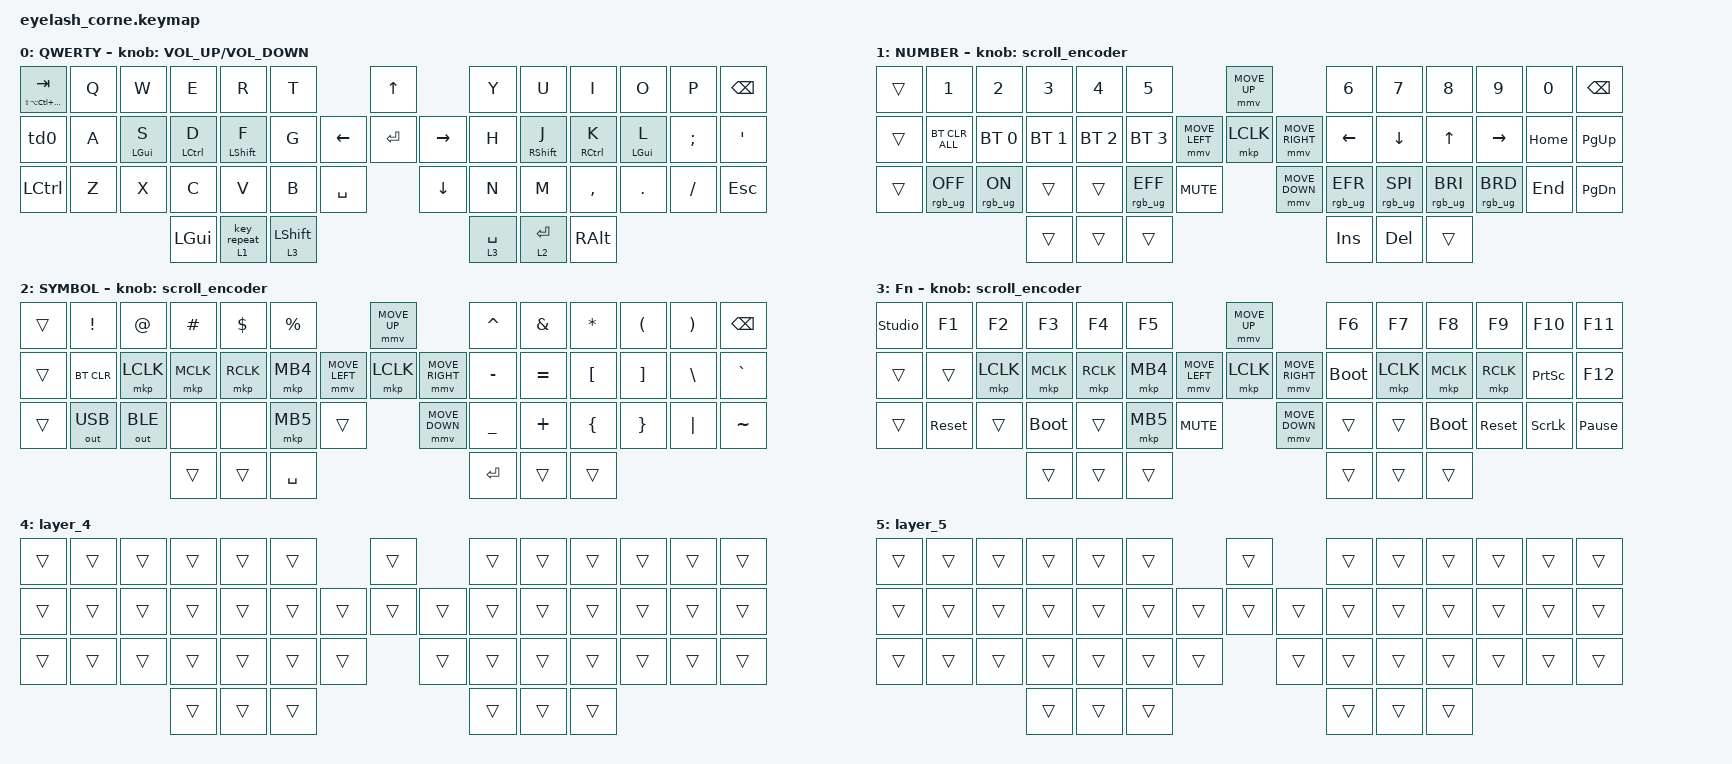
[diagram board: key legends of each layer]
#define ZMK_POINTING_DEFAULT_MOVE_VAL 1200  // 600
#define ZMK_POINTING_DEFAULT_SCRL_VAL 25   // 10

#include <input/processors.dtsi>
#include <zephyr/dt-bindings/input/input-event-codes.h>
#include <behaviors.dtsi>
#include <dt-bindings/zmk/bt.h>
#include <dt-bindings/zmk/keys.h>
#include <dt-bindings/zmk/outputs.h>
#include <dt-bindings/zmk/pointing.h>
#include <dt-bindings/zmk/rgb.h>

&mmv_input_listener { input-processors = <&zip_xy_scaler 2 1>; };

&msc_input_listener { input-processors = <&zip_scroll_scaler 2 1>; };

&msc {
    acceleration-exponent = <1>;      // 0
    time-to-max-speed-ms = <100>;       // 300
    delay-ms = <0>;                   // 0
};

&mmv {
    time-to-max-speed-ms = <500>;
    acceleration-exponent = <1>;
    trigger-period-ms = <16>;
};

&soft_off { hold-time-ms = <2000>; };

/ {
    behaviors {
        td0: td0 {
            compatible = "zmk,behavior-tap-dance";
            display-name = "Shift/Caps Lock Tap Dance";
            #binding-cells = <0>;
            bindings = <&kp LEFT_SHIFT>, <&kp CAPS>;
        };

        SHIFTLEFT: SHIFTLEFT {
            compatible = "zmk,behavior-hold-tap";
            label = "SHIFTLEFT";
            bindings = <&kp>, <&kp>;

            #binding-cells = <2>;
            hold-trigger-key-positions = <7 8 10 11 12 22 23 24 25 26 27 36 37 38 39 40 41 46 47 9 45>;
            hold-trigger-on-release;
            hold-while-undecided;
            tapping-term-ms = <250>;
            flavor = "hold-preferred";
        };

        SHIFTRIGHT: SHIFTRIGHT {
            compatible = "zmk,behavior-hold-tap";
            label = "SHIFTRIGHT";
            bindings = <&kp>, <&kp>;

            #binding-cells = <2>;
            hold-trigger-on-release;
            hold-while-undecided;
            tapping-term-ms = <250>;
            flavor = "hold-preferred";
            hold-trigger-key-positions = <0 1 2 3 4 5 13 14 15 16 17 18 28 29 30 31 32 33 42 43 44>;
        };

        HMLEFT: HMLEFT {
            compatible = "zmk,behavior-hold-tap";
            label = "HMLEFT";
            bindings = <&kp>, <&kp>;

            #binding-cells = <2>;
            hold-trigger-key-positions = <7 8 10 11 12 22 23 24 25 26 27 36 37 38 39 40 41 46 47 9 45>;
            hold-trigger-on-release;
            hold-while-undecided;
            tapping-term-ms = <250>;
            flavor = "tap-preferred";
        };

        HMRIGHT: HMRIGHT {
            compatible = "zmk,behavior-hold-tap";
            label = "HMRIGHT";
            bindings = <&kp>, <&kp>;

            #binding-cells = <2>;
            hold-trigger-key-positions = <7 8 10 11 12 22 23 24 25 26 27 36 37 38 39 40 41 46 47 9 45>;
            hold-trigger-on-release;
            hold-while-undecided;
            tapping-term-ms = <250>;
            flavor = "tap-preferred";
        };

        STICKY_SHIFT_LAYER: STICKY_SHIFT_LAYER {
            compatible = "zmk,behavior-hold-tap";
            label = "STICKY_SHIFT_LAYER";
            bindings = <&none>, <&sk>;

            #binding-cells = <2>;
            tapping-term-ms = <250>;
        };

        REPEAT_LAYER: REPEAT_LAYER {
            compatible = "zmk,behavior-hold-tap";
            label = "REPEAT_LAYER";
            bindings = <&mo>, <&key_repeat>;

            #binding-cells = <2>;
            tapping-term-ms = <250>;
            flavor = "tap-preferred";
            hold-while-undecided;
        };
    };

    rgb_encoder: rgb_encoder {
        compatible = "zmk,behavior-sensor-rotate";
        #sensor-binding-cells = <0>;
        bindings = <&rgb_ug RGB_BRI>, <&rgb_ug RGB_BRD>;
    };

    scroll_encoder: scroll_encoder {
        compatible = "zmk,behavior-sensor-rotate";
        #sensor-binding-cells = <0>;
        bindings = <&msc SCRL_DOWN>, <&msc SCRL_UP>;

        tap-ms = <100>;
    };

    combos {
        compatible = "zmk,combos";

        softoff {
            bindings = <&soft_off>;
            key-positions = <1 15 29>;
        };

        TIL {
            bindings = <&kp TILDE>;
            key-positions = <0 1>;
        };

        CUT_COMBO {
            bindings = <&kp LC(X)>;
            key-positions = <29 30>;
        };

        COPY_COMBO {
            bindings = <&kp K_COPY>;
            key-positions = <30 31>;
        };

        PASTE_COMBO {
            bindings = <&kp K_PASTE>;
            key-positions = <32 31>;
        };

        STICK_L4 {
            bindings = <&sl 4>;
            key-positions = <43 46>;
        };

        STICKY_L5 {
            bindings = <&sl 5>;
            key-positions = <42 47>;
        };

        UNDRSC_COMBO {
            bindings = <&kp UNDERSCORE>;
            key-positions = <36 37>;
        };

        DASH_COMBO {
            bindings = <&kp MINUS>;
            key-positions = <22 23>;
        };

        EQUALS_COMBO {
            bindings = <&kp EQUAL>;
            key-positions = <7 8>;
        };

        CURLY_OPEN_CBO {
            bindings = <&kp LEFT_BRACE>;
            key-positions = <8 9>;
        };

        PAREN_OPEN {
            bindings = <&kp LEFT_PARENTHESIS>;
            key-positions = <23 24>;
        };

        SQBR_OPEN {
            bindings = <&kp LEFT_BRACKET>;
            key-positions = <37 38>;
        };

        CURLY_CLOSE_COMBO {
            bindings = <&kp RIGHT_BRACE>;
            key-positions = <9 10>;
        };

        PAREN_CLOSE_CBO {
            bindings = <&kp RIGHT_PARENTHESIS>;
            key-positions = <24 25>;
        };

        SQBRAC_CLOSE_CBO {
            bindings = <&kp RIGHT_BRACKET>;
            key-positions = <38 39>;
        };

        STICKY_SHIFT {
            bindings = <&sk LEFT_SHIFT>;
            key-positions = <17 23>;
        };
    };

    keymap {
        compatible = "zmk,keymap";

        default_layer {
            display-name = "QWERTY";
            bindings = <
&mt LS(LA(LC(LG(RCTRL)))) TAB  &kp Q  &kp W           &kp E            &kp R                    &kp T                                    &kp UP                &kp Y        &kp U                      &kp I             &kp O                   &kp P          &kp BSPC
&td0                           &kp A  &HMLEFT LGUI S  &HMLEFT LCTRL D  &SHIFTLEFT LEFT_SHIFT F  &kp G                          &kp LEFT  &kp ENTER  &kp RIGHT  &kp H        &SHIFTRIGHT RIGHT_SHIFT J  &HMRIGHT RCTRL K  &SHIFTRIGHT LEFT_GUI L  &kp SEMICOLON  &kp SQT
&kp LCTRL                      &kp Z  &kp X           &kp C            &kp V                    &kp B             &kp SPACE              &kp DOWN              &kp N        &kp M                      &kp COMMA         &kp DOT                 &kp FSLH       &kp ESC
                                                      &kp LGUI         &REPEAT_LAYER 1 0        &lt 3 LEFT_SHIFT                                               &lt 3 SPACE  &lt 2 ENTER                &kp RALT
            >;

            sensor-bindings = <&inc_dec_kp C_VOLUME_UP C_VOLUME_DOWN>;
        };

        lower_layer {
            display-name = "NUMBER";
            bindings = <
&trans  &kp N1           &kp N2          &kp N3        &kp N4        &kp N5                                         &mmv MOVE_UP                     &kp N6           &kp N7           &kp N8           &kp N9           &kp N0    &kp BSPC
&trans  &bt BT_CLR_ALL   &bt BT_SEL 0    &bt BT_SEL 1  &bt BT_SEL 2  &bt BT_SEL 3                   &mmv MOVE_LEFT  &mkp LCLK       &mmv MOVE_RIGHT  &kp LEFT         &kp DOWN         &kp UP           &kp RIGHT        &kp HOME  &kp PG_UP
&trans  &rgb_ug RGB_OFF  &rgb_ug RGB_ON  &trans        &trans        &rgb_ug RGB_EFF  &kp C_MUTE                    &mmv MOVE_DOWN                   &rgb_ug RGB_EFR  &rgb_ug RGB_SPI  &rgb_ug RGB_BRI  &rgb_ug RGB_BRD  &kp END   &kp PG_DN
                                         &trans        &trans        &trans                                                                          &kp INS          &kp DEL          &trans
            >;

            sensor-bindings = <&scroll_encoder>;
        };

        raise_layer {
            display-name = "SYMBOL";
            bindings = <
&trans  &kp EXCL      &kp AT        &kp HASH   &kp DLLR   &kp PRCNT                            &mmv MOVE_UP                     &kp CARET  &kp AMPS   &kp ASTRK  &kp LPAR  &kp RPAR  &kp BSPC
&trans  &bt BT_CLR    &mkp LCLK     &mkp MCLK  &mkp RCLK  &mkp MB4             &mmv MOVE_LEFT  &mkp LCLK       &mmv MOVE_RIGHT  &kp MINUS  &kp EQUAL  &kp LBKT   &kp RBKT  &kp BSLH  &kp GRAVE
&trans  &out OUT_USB  &out OUT_BLE  &none      &none      &mkp MB5   &trans                    &mmv MOVE_DOWN                   &kp UNDER  &kp PLUS   &kp LBRC   &kp RBRC  &kp PIPE  &kp TILDE
                                    &trans     &trans     &kp SPACE                                                             &kp RET    &trans     &trans
            >;

            sensor-bindings = <&scroll_encoder>;
        };

        layer_3 {
            display-name = "Fn";
            bindings = <
&studio_unlock  &kp F1      &kp F2     &kp F3       &kp F4     &kp F5                                  &mmv MOVE_UP                     &kp F6       &kp F7     &kp F8       &kp F9      &kp F10          &kp F11
&trans          &trans      &mkp LCLK  &mkp MCLK    &mkp RCLK  &mkp MB4                &mmv MOVE_LEFT  &mkp LCLK       &mmv MOVE_RIGHT  &bootloader  &mkp LCLK  &mkp MCLK    &mkp RCLK   &kp PRINTSCREEN  &kp F12
&trans          &sys_reset  &trans     &bootloader  &trans     &mkp MB5  &kp C_MUTE                    &mmv MOVE_DOWN                   &trans       &trans     &bootloader  &sys_reset  &kp SCROLLLOCK   &kp PAUSE_BREAK
                                       &trans       &trans     &trans                                                                   &trans       &trans     &trans
            >;

            sensor-bindings = <&scroll_encoder>;
        };

        layer_4 {
            bindings = <
&trans  &trans  &trans  &trans  &trans  &trans                    &trans          &trans  &trans  &trans  &trans  &trans  &trans
&trans  &trans  &trans  &trans  &trans  &trans            &trans  &trans  &trans  &trans  &trans  &trans  &trans  &trans  &trans
&trans  &trans  &trans  &trans  &trans  &trans  &trans            &trans          &trans  &trans  &trans  &trans  &trans  &trans
                        &trans  &trans  &trans                                    &trans  &trans  &trans
            >;
        };

        layer_5 {
            bindings = <
&trans  &trans  &trans  &trans  &trans  &trans                    &trans          &trans  &trans  &trans  &trans  &trans  &trans
&trans  &trans  &trans  &trans  &trans  &trans            &trans  &trans  &trans  &trans  &trans  &trans  &trans  &trans  &trans
&trans  &trans  &trans  &trans  &trans  &trans  &trans            &trans          &trans  &trans  &trans  &trans  &trans  &trans
                        &trans  &trans  &trans                                    &trans  &trans  &trans
            >;
        };
    };
};
